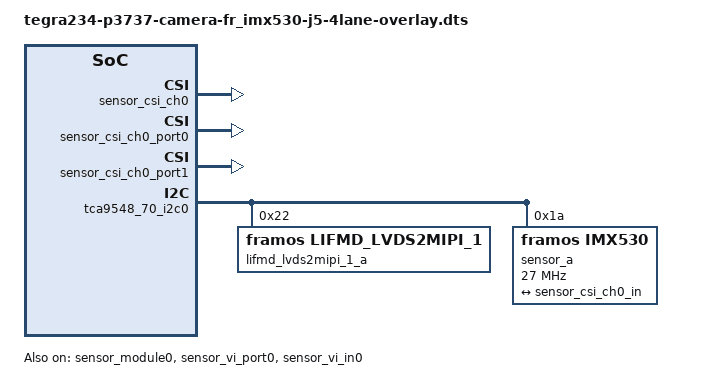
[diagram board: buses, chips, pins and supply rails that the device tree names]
// SPDX-License-Identifier: GPL-2.0
/*
 * Copyright (c) 2024 Framos. All rights reserved.
 *
 * tegra234-p3737-camera-fr_imx530-j5-4lane-overlay.dts - IMX412 sensor device tree
 */

/dts-v1/;
/plugin/;

#include <dt-bindings/clock/tegra234-clock.h>
#include <dt-bindings/gpio/tegra234-gpio.h>
#include <dt-bindings/tegra234-p3737-0000+p3701-0000.h>

/* TCA6408 Pxx bus-port define*/
#define CRESETB	 1

/ {
	overlay-name = "Framos IMX530-J5-4Lane";
	jetson-header-name = "Jetson AGX CSI Connector";
	compatible = JETSON_COMPATIBLE;

	fragment@0 {
		target = <&sensor_module0>;
		__overlay__ {
			status = "okay";
			badge = "imx530_bottomleft_framos";
			drivernode0 {
				status = "okay";
				/* Declare PCL support driver (classically known as guid) */
				devname = "imx530 9-001a";
				/* Declare the device-tree hierarchy to driver instance */
				sysfs-device-tree = "/sys/firmware/devicetree/base/bus@0/i2c@3180000/tca9548@70/i2c@0/imx530_a@1a";
			};
		};
	};

	fragment@1 {
		target = <&sensor_vi_port0>;
		__overlay__ {
			status = "okay";
		};
	};

	fragment@2 {
		target = <&sensor_vi_in0>;
		__overlay__ {
			status = "okay";
			bus-width = <4>;
		};
	};

	fragment@3 {
		target = <&sensor_csi_ch0>;
		__overlay__ {
			status = "okay";
			ports {
				status = "okay";
			};
		};
	};

	fragment@4 {
		target = <&sensor_csi_ch0_port0>;
		__overlay__ {
			status = "okay";
		};
	};

	fragment@5 {
		target = <&sensor_csi_ch0_in>;
		__overlay__ {
			status = "okay";
			bus-width = <4>;
			remote-endpoint = <&sensor_out_a>;
		};
	};

	fragment@6 {
		target = <&sensor_csi_ch0_port1>;
		__overlay__ {
			status = "okay";
		};
	};

	fragment@7 {
		target = <&sensor_csi_ch0_out>;
		__overlay__ {
			status = "okay";
		};
	};

	fragment@8 {
		target = <&tca9548_70_i2c0>;
		__overlay__ {
			lifmd_lvds2mipi_1_a: lifmd_lvds2mipi_1_a@22 {
				compatible = "framos,lifmd_lvds2mipi_1";
				reg = <0x22>;
				device = "lifmd_lvds2mipi_1";
			};

			sensor_a: imx530_a@1a {
				compatible = "framos,imx530";
				reg = <0x1a>;

				/* Define any required hw resources needed by driver */
				/* ie. clocks, io pins, power sources */
				clocks = <&bpmp TEGRA234_CLK_EXTPERIPH1>, <&bpmp TEGRA234_CLK_EXTPERIPH1>;
				clock-names = "extperiph1", "pllp_grtba";
				mclk = "extperiph1";
				clock-frequency = <27000000>;
				lifmd_lvds2mipi_1-device = <&lifmd_lvds2mipi_1_a>;

				devnode = "video0";

				physical_w = "15.00";
				physical_h = "12.50";

				sensor_model ="imx530";

				/* Defines number of frames to be dropped by driver internally after applying */
				/* sensor crop settings. Some sensors send corrupt frames after applying */
				/* crop co-ordinates */
				post_crop_frame_drop = "0";

				/* Convert Gain to unit of dB (decibel) befor passing to kernel driver */
				use_decibel_gain = "true";

				/* if true, delay gain setting by one frame to be in sync with exposure */
				delayed_gain = "false";

				/* enable CID_SENSOR_MODE_ID for sensor modes selection */
				use_sensor_mode_id = "false";

				mode0 {
					mclk_khz = "37125";
					num_lanes = "4";
					tegra_sinterface = "serial_a";
					vc_id = "0";
					phy_mode = "DPHY";
					discontinuous_clk = "no";
					dpcm_enable = "false";
					cil_settletime = "0";
					active_w = "5328";
					active_h = "4608";

					dynamic_pixel_bit_depth = "12";
					csi_pixel_bit_depth = "12";
					mode_type = "bayer";
					pixel_phase = "rggb";

					readout_orientation = "0";
					line_length = "8000";
					inherent_gain = "1";
					pix_clk_hz = "475200000";
					serdes_pix_clk_hz = "12000000000";/* GMSL predefine */

					gain_factor = "10";
					min_gain_val = "0";/* 0dB */
					max_gain_val = "480";/* 48dB */
					step_gain_val = "1";/* 0.1 */
					default_gain = "0";
					min_hdr_ratio = "1";
					max_hdr_ratio = "64";
					framerate_factor = "1000000";
					min_framerate = "1500000";/* 1.5 */
					max_framerate = "15000000";/* 15 */
					step_framerate = "1";
					default_framerate= "15000000";
					exposure_factor = "1000000";
					min_exp_time = "14";/* us */
					max_exp_time = "660000";/* us */
					step_exp_time = "1";
					default_exp_time = "27879";/* us */
					embedded_metadata_height = "0";
				};
				mode1 {
					mclk_khz = "37125";
					num_lanes = "4";
					tegra_sinterface = "serial_a";
					vc_id = "0";
					phy_mode = "DPHY";
					discontinuous_clk = "no";
					dpcm_enable = "false";
					cil_settletime = "0";
					active_w = "3840";
					active_h = "2160";

					dynamic_pixel_bit_depth = "12";
					csi_pixel_bit_depth = "12";
					mode_type = "bayer";
					pixel_phase = "rggb";

					readout_orientation = "0";
					line_length = "9000";
					inherent_gain = "1";
					pix_clk_hz = "475200000";
					serdes_pix_clk_hz = "12000000000";/* GMSL predefine */

					gain_factor = "10";
					min_gain_val = "0";/* 0dB */
					max_gain_val = "480";/* 48dB */
					step_gain_val = "1";/* 0.1 */
					default_gain = "0";
					min_hdr_ratio = "1";
					max_hdr_ratio = "64";
					framerate_factor = "1000000";
					min_framerate = "1500000";/* 1.5 */
					max_framerate = "30000000";/* 30 */
					step_framerate = "1";
					default_framerate= "30000000";
					exposure_factor = "1000000";
					min_exp_time = "14";/* us */
					max_exp_time = "660000";/* us */
					step_exp_time = "1";
					default_exp_time = "27879";/* us */
					embedded_metadata_height = "0";
				};
				mode2 {
					mclk_khz = "37125";
					num_lanes = "4";
					tegra_sinterface = "serial_a";
					vc_id = "0";
					phy_mode = "DPHY";
					discontinuous_clk = "no";
					dpcm_enable = "false";
					cil_settletime = "0";
					active_w = "4512";
					active_h = "4512";

					dynamic_pixel_bit_depth = "12";
					csi_pixel_bit_depth = "12";
					mode_type = "bayer";
					pixel_phase = "rggb";

					readout_orientation = "0";
					line_length = "9000";
					inherent_gain = "1";
					pix_clk_hz = "475200000";
					serdes_pix_clk_hz = "12000000000";/* GMSL predefine */

					gain_factor = "10";
					min_gain_val = "0";/* 0dB */
					max_gain_val = "480";/* 48dB */
					step_gain_val = "1";/* 0.1 */
					default_gain = "0";
					min_hdr_ratio = "1";
					max_hdr_ratio = "64";
					framerate_factor = "1000000";
					min_framerate = "1500000";/* 1.5 */
					max_framerate = "15000000";/* 15 */
					step_framerate = "1";
					default_framerate= "15000000";
					exposure_factor = "1000000";
					min_exp_time = "14";/* us */
					max_exp_time = "660000";/* us */
					step_exp_time = "1";
					default_exp_time = "27879";/* us */
					embedded_metadata_height = "0";
				};
				mode3 {
					mclk_khz = "37125";
					num_lanes = "4";
					tegra_sinterface = "serial_a";
					vc_id = "0";
					phy_mode = "DPHY";
					discontinuous_clk = "no";
					dpcm_enable = "false";
					cil_settletime = "0";
					active_w = "5328";
					active_h = "3040";

					dynamic_pixel_bit_depth = "12";
					csi_pixel_bit_depth = "12";
					mode_type = "bayer";
					pixel_phase = "rggb";

					readout_orientation = "0";
					line_length = "9000";
					inherent_gain = "1";
					pix_clk_hz = "475200000";
					serdes_pix_clk_hz = "12000000000";/* GMSL predefine */

					gain_factor = "10";
					min_gain_val = "0";/* 0dB */
					max_gain_val = "480";/* 48dB */
					step_gain_val = "1";/* 0.1 */
					default_gain = "0";
					min_hdr_ratio = "1";
					max_hdr_ratio = "64";
					framerate_factor = "1000000";
					min_framerate = "1500000";/* 1.5 */
					max_framerate = "22000000";/* 22 */
					step_framerate = "1";
					default_framerate= "22000000";
					exposure_factor = "1000000";
					min_exp_time = "14";/* us */
					max_exp_time = "660000";/* us */
					step_exp_time = "1";
					default_exp_time = "27879";/* us */
					embedded_metadata_height = "0";
				};
				mode4 {
					mclk_khz = "37125";
					num_lanes = "4";
					tegra_sinterface = "serial_a";
					vc_id = "0";
					phy_mode = "DPHY";
					discontinuous_clk = "no";
					dpcm_enable = "false";
					cil_settletime = "0";
					active_w = "4064";
					active_h = "3008";

					dynamic_pixel_bit_depth = "12";
					csi_pixel_bit_depth = "12";
					mode_type = "bayer";
					pixel_phase = "rggb";

					readout_orientation = "0";
					line_length = "9000";
					inherent_gain = "1";
					pix_clk_hz = "475200000";
					serdes_pix_clk_hz = "12000000000";/* GMSL predefine */

					gain_factor = "10";
					min_gain_val = "0";/* 0dB */
					max_gain_val = "480";/* 48dB */
					step_gain_val = "1";/* 0.1 */
					default_gain = "0";
					min_hdr_ratio = "1";
					max_hdr_ratio = "64";
					framerate_factor = "1000000";
					min_framerate = "1500000";/* 1.5 */
					max_framerate = "23000000";/* 23 */
					step_framerate = "1";
					default_framerate= "23000000";
					exposure_factor = "1000000";
					min_exp_time = "14";/* us */
					max_exp_time = "660000";/* us */
					step_exp_time = "1";
					default_exp_time = "27879";/* us */
					embedded_metadata_height = "0";
				};
				mode5 {
					mclk_khz = "37125";
					num_lanes = "4";
					tegra_sinterface = "serial_a";
					vc_id = "0";
					phy_mode = "DPHY";
					discontinuous_clk = "no";
					dpcm_enable = "false";
					cil_settletime = "0";
					active_w = "2656";
					active_h = "2304";

					dynamic_pixel_bit_depth = "12";
					csi_pixel_bit_depth = "12";
					mode_type = "bayer";
					pixel_phase = "rggb";

					readout_orientation = "0";
					line_length = "5400";
					inherent_gain = "1";
					pix_clk_hz = "475200000";
					serdes_pix_clk_hz = "12000000000";/* GMSL predefine */

					gain_factor = "10";
					min_gain_val = "0";/* 0dB */
					max_gain_val = "480";/* 48dB */
					step_gain_val = "1";/* 0.1 */
					default_gain = "0";
					min_hdr_ratio = "1";
					max_hdr_ratio = "64";
					framerate_factor = "1000000";
					min_framerate = "1500000";/* 1.5 */
					max_framerate = "54000000";/* 54 */
					step_framerate = "1";
					default_framerate= "30000000";
					exposure_factor = "1000000";
					min_exp_time = "14";/* us */
					max_exp_time = "660000";/* us */
					step_exp_time = "1";
					default_exp_time = "27879";/* us */
					embedded_metadata_height = "0";
				};
				mode6 {
					mclk_khz = "37125";
					num_lanes = "4";
					tegra_sinterface = "serial_a";
					vc_id = "0";
					phy_mode = "DPHY";
					discontinuous_clk = "no";
					dpcm_enable = "false";
					cil_settletime = "0";
					active_w = "3840";
					active_h = "2160";

					dynamic_pixel_bit_depth = "10";
					csi_pixel_bit_depth = "10";
					mode_type = "bayer";
					pixel_phase = "rggb";

					readout_orientation = "0";
					line_length = "9000";
					inherent_gain = "1";
					pix_clk_hz = "475200000";
					serdes_pix_clk_hz = "12000000000";/* GMSL predefine */

					gain_factor = "10";
					min_gain_val = "0";/* 0dB */
					max_gain_val = "480";/* 48dB */
					step_gain_val = "1";/* 0.1 */
					default_gain = "0";
					min_hdr_ratio = "1";
					max_hdr_ratio = "64";
					framerate_factor = "1000000";
					min_framerate = "1500000";/* 1.5 */
					max_framerate = "36000000";/* 36 */
					step_framerate = "1";
					default_framerate= "36000000";
					exposure_factor = "1000000";
					min_exp_time = "14";/* us */
					max_exp_time = "660000";/* us */
					step_exp_time = "1";
					default_exp_time = "27879";/* us */
					embedded_metadata_height = "0";
				};
				mode7 {
					mclk_khz = "37125";
					num_lanes = "4";
					tegra_sinterface = "serial_a";
					vc_id = "0";
					phy_mode = "DPHY";
					discontinuous_clk = "no";
					dpcm_enable = "false";
					cil_settletime = "0";
					active_w = "4512";
					active_h = "4512";

					dynamic_pixel_bit_depth = "10";
					csi_pixel_bit_depth = "10";
					mode_type = "bayer";
					pixel_phase = "rggb";

					readout_orientation = "0";
					line_length = "9000";
					inherent_gain = "1";
					pix_clk_hz = "475200000";
					serdes_pix_clk_hz = "12000000000";/* GMSL predefine */

					gain_factor = "10";
					min_gain_val = "0";/* 0dB */
					max_gain_val = "480";/* 48dB */
					step_gain_val = "1";/* 0.1 */
					default_gain = "0";
					min_hdr_ratio = "1";
					max_hdr_ratio = "64";
					framerate_factor = "1000000";
					min_framerate = "1500000";/* 1.5 */
					max_framerate = "18000000";/* 18 */
					step_framerate = "1";
					default_framerate= "18000000";
					exposure_factor = "1000000";
					min_exp_time = "14";/* us */
					max_exp_time = "660000";/* us */
					step_exp_time = "1";
					default_exp_time = "27879";/* us */
					embedded_metadata_height = "0";
				};
				mode8 {
					mclk_khz = "37125";
					num_lanes = "4";
					tegra_sinterface = "serial_a";
					vc_id = "0";
					phy_mode = "DPHY";
					discontinuous_clk = "no";
					dpcm_enable = "false";
					cil_settletime = "0";
					active_w = "4064";
					active_h = "3008";

					dynamic_pixel_bit_depth = "10";
					csi_pixel_bit_depth = "10";
					mode_type = "bayer";
					pixel_phase = "rggb";

					readout_orientation = "0";
					line_length = "9000";
					inherent_gain = "1";
					pix_clk_hz = "475200000";
					serdes_pix_clk_hz = "12000000000";/* GMSL predefine */

					gain_factor = "10";
					min_gain_val = "0";/* 0dB */
					max_gain_val = "480";/* 48dB */
					step_gain_val = "1";/* 0.1 */
					default_gain = "0";
					min_hdr_ratio = "1";
					max_hdr_ratio = "64";
					framerate_factor = "1000000";
					min_framerate = "1500000";/* 1.5 */
					max_framerate = "27000000";/* 27 */
					step_framerate = "1";
					default_framerate= "27000000";
					exposure_factor = "1000000";
					min_exp_time = "14";/* us */
					max_exp_time = "660000";/* us */
					step_exp_time = "1";
					default_exp_time = "27879";/* us */
					embedded_metadata_height = "0";
				};
				ports {
					#address-cells = <1>;
					#size-cells = <0>;
					port@0 {
						reg = <0>;
						sensor_out_a: endpoint {
							vc-id = <0>;
							port-index = <0>;
							bus-width = <4>;
							remote-endpoint = <&sensor_csi_ch0_in>;
						};
					};
				};
			};
		};
	};

};
